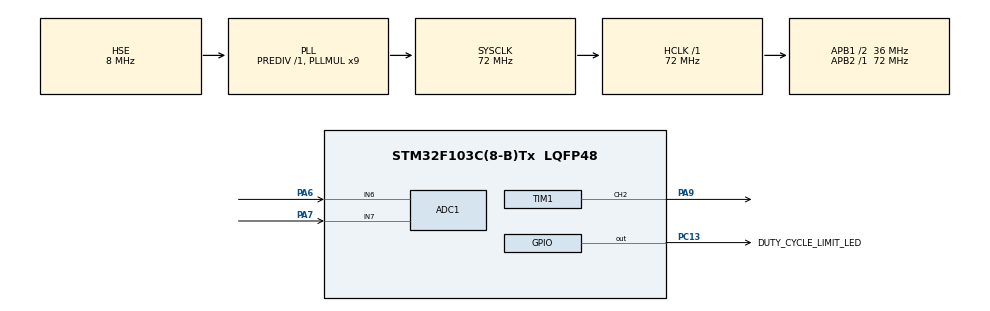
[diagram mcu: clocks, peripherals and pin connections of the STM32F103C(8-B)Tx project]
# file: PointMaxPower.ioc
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ADC1.Channel-1\#ChannelRegularConversion=ADC_CHANNEL_6
ADC1.Channel-10\#ChannelRegularConversion=ADC_CHANNEL_7
ADC1.Channel-2\#ChannelRegularConversion=ADC_CHANNEL_7
ADC1.Channel-7\#ChannelRegularConversion=ADC_CHANNEL_6
ADC1.Channel-8\#ChannelRegularConversion=ADC_CHANNEL_7
ADC1.Channel-9\#ChannelRegularConversion=ADC_CHANNEL_6
ADC1.ContinuousConvMode=DISABLE
ADC1.EnableInjectedConversion=DISABLE
ADC1.InjNumberOfConversion=3
ADC1.NbrOfConversion=6
ADC1.NbrOfConversionFlag=1
ADC1.Rank-1\#ChannelRegularConversion=1
ADC1.Rank-10\#ChannelRegularConversion=6
ADC1.Rank-2\#ChannelRegularConversion=2
ADC1.Rank-7\#ChannelRegularConversion=3
ADC1.Rank-8\#ChannelRegularConversion=4
ADC1.Rank-9\#ChannelRegularConversion=5
ADC1.SamplingTime-1\#ChannelRegularConversion=ADC_SAMPLETIME_1CYCLE_5
ADC1.SamplingTime-10\#ChannelRegularConversion=ADC_SAMPLETIME_1CYCLE_5
ADC1.SamplingTime-2\#ChannelRegularConversion=ADC_SAMPLETIME_1CYCLE_5
ADC1.SamplingTime-7\#ChannelRegularConversion=ADC_SAMPLETIME_1CYCLE_5
ADC1.SamplingTime-8\#ChannelRegularConversion=ADC_SAMPLETIME_1CYCLE_5
ADC1.SamplingTime-9\#ChannelRegularConversion=ADC_SAMPLETIME_1CYCLE_5
ADC1.master=1
Dma.ADC1.0.Direction=DMA_PERIPH_TO_MEMORY
Dma.ADC1.0.Instance=DMA1_Channel1
Dma.ADC1.0.MemDataAlignment=DMA_MDATAALIGN_HALFWORD
Dma.ADC1.0.MemInc=DMA_MINC_ENABLE
Dma.ADC1.0.Mode=DMA_NORMAL
Dma.ADC1.0.PeriphDataAlignment=DMA_PDATAALIGN_HALFWORD
Dma.ADC1.0.PeriphInc=DMA_PINC_DISABLE
Dma.ADC1.0.Priority=DMA_PRIORITY_LOW
Dma.Request0=ADC1
Mcu.Family=STM32F1
Mcu.Name=STM32F103C(8-B)Tx
Mcu.Package=LQFP48
NVIC.ADC1_2_IRQn=true\:0\:0\:false\:false\:true\:true\:true
NVIC.DMA1_Channel1_IRQn=true\:0\:0\:false\:false\:true\:false\:true
NVIC.PriorityGroup=NVIC_PRIORITYGROUP_4
PA13.Mode=Serial_Wire
PA13.Signal=SYS_JTMS-SWDIO
PA14.Mode=Serial_Wire
PA14.Signal=SYS_JTCK-SWCLK
PA6.Signal=ADCx_IN6
PA7.Signal=ADCx_IN7
PA9.Signal=S_TIM1_CH2
PC13-TAMPER-RTC.GPIO_Label=DUTY_CYCLE_LIMIT_LED
PC13-TAMPER-RTC.GPIO_Speed=GPIO_SPEED_FREQ_HIGH
PC13-TAMPER-RTC.PinState=GPIO_PIN_SET
PC13-TAMPER-RTC.Signal=GPIO_Output
PC14-OSC32_IN.Mode=LSE-External-Oscillator
PC14-OSC32_IN.Signal=RCC_OSC32_IN
PC15-OSC32_OUT.Mode=LSE-External-Oscillator
PC15-OSC32_OUT.Signal=RCC_OSC32_OUT
PD0-OSC_IN.Mode=HSE-External-Oscillator
PD0-OSC_IN.Signal=RCC_OSC_IN
PD1-OSC_OUT.Mode=HSE-External-Oscillator
PD1-OSC_OUT.Signal=RCC_OSC_OUT
ProjectManager.HeapSize=0x200
ProjectManager.StackSize=0x400
ProjectManager.TargetToolchain=EWARM V8.32
RCC.ADCPresc=RCC_ADCPCLK2_DIV6
RCC.AHBFreq_Value=72000000
RCC.APB1CLKDivider=RCC_HCLK_DIV2
RCC.APB1Freq_Value=36000000
RCC.APB1TimFreq_Value=72000000
RCC.APB2Freq_Value=72000000
RCC.APB2TimFreq_Value=72000000
RCC.HCLKFreq_Value=72000000
RCC.LSE_Timout=500
RCC.PLLMUL=RCC_PLL_MUL9
RCC.PLLSourceVirtual=RCC_PLLSOURCE_HSE
RCC.SYSCLKFreq_VALUE=72000000
RCC.SYSCLKSource=RCC_SYSCLKSOURCE_PLLCLK
RCC.USBFreq_Value=72000000
SH.ADCx_IN6.0=ADC1_IN6,IN6
SH.ADCx_IN7.0=ADC1_IN7,IN7
SH.S_TIM1_CH2.0=TIM1_CH2,PWM Generation2 CH2
TIM1.Channel-PWM\ Generation2\ CH2=TIM_CHANNEL_2
TIM1.Period=1024
TIM1.Pulse-PWM\ Generation2\ CH2=512
VP_TIM1_VS_ClockSourceINT.Mode=Internal
board=custom

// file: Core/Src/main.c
/* USER CODE BEGIN Header */
/**
  ******************************************************************************
  * @file           : main.c
  * @brief          : Main program body
  ******************************************************************************
  * @attention
  *
  * <h2><center>&copy; Copyright (c) 2021 STMicroelectronics.
  * All rights reserved.</center></h2>
  *
  * This software component is licensed by ST under BSD 3-Clause license,
  * the "License"; You may not use this file except in compliance with the
  * License. You may obtain a copy of the License at:
  *                        opensource.org/licenses/BSD-3-Clause
  *
  ******************************************************************************
  */
/* USER CODE END Header */
#include "main.h"

/* USER CODE BEGIN Includes */
#include <stdbool.h>
#include <stdio.h>
/* USER CODE END Includes */

/* USER CODE BEGIN PTD */
typedef struct
{
  uint16_t      voltage;
  uint16_t      current;
} adc_sample_t;
/* USER CODE END PTD */

/* USER CODE BEGIN PD */
#define SAMPLE_BUF_ELEM  3 //this value must be the half of 'hadc1.Init.NbrOfConversion'
#define INCREASE_PWM            ((int8_t)1)
#define DECREASE_PWM            ((int8_t)(-1))
#define LED_LIGHT               GPIO_PIN_RESET
#define LED_DARK                GPIO_PIN_SET
/* USER CODE END PD */

ADC_HandleTypeDef hadc1;
DMA_HandleTypeDef hdma_adc1;

TIM_HandleTypeDef htim1;

/* USER CODE BEGIN PV */
__IO adc_sample_t samples_buf[SAMPLE_BUF_ELEM];
bool debug_print_new_duty_cycle = true;
uint16_t duty_cycle = PWM_DUTY_CYCLE_DEFAULT;
/* USER CODE END PV */

void SystemClock_Config(void);
static void MX_GPIO_Init(void);
static void MX_DMA_Init(void);
static void MX_ADC1_Init(void);
static void MX_TIM1_Init(void);
/* USER CODE BEGIN PFP */
void sample_handling(ADC_HandleTypeDef *hadc);
/* USER CODE END PFP */

int main(void)
{

  /* MCU Configuration--------------------------------------------------------*/

  /* Reset of all peripherals, Initializes the Flash interface and the Systick. */
  HAL_Init();

  /* Configure the system clock */
  SystemClock_Config();

  /* Initialize all configured peripherals */
  MX_GPIO_Init();
  MX_DMA_Init();
  MX_ADC1_Init();
  MX_TIM1_Init();
  /* USER CODE BEGIN 2 */
  if (HAL_ADC_RegisterCallback(&hadc1, HAL_ADC_CONVERSION_COMPLETE_CB_ID, sample_handling) != HAL_OK)
    Error_Handler();

  __HAL_TIM_SET_COMPARE(&htim1, TIM_CHANNEL_2, PWM_DUTY_CYCLE_DEFAULT);

  if (HAL_TIM_PWM_Start_IT(&htim1,  TIM_CHANNEL_2) != HAL_OK)
    Error_Handler();

  /* USER CODE END 2 */

  /* Infinite loop */
  /* USER CODE BEGIN WHILE */

  while (1)
  {
    if (debug_print_new_duty_cycle)
    {
      printf ("\nduty cycle = %d", duty_cycle);
      debug_print_new_duty_cycle = false;
    }
    /* USER CODE END WHILE */

  }
}

void SystemClock_Config(void)
{
  RCC_OscInitTypeDef RCC_OscInitStruct = {0};
  RCC_ClkInitTypeDef RCC_ClkInitStruct = {0};
  RCC_PeriphCLKInitTypeDef PeriphClkInit = {0};

  /** Initializes the RCC Oscillators according to the specified parameters
  * in the RCC_OscInitTypeDef structure.
  */
  RCC_OscInitStruct.OscillatorType = RCC_OSCILLATORTYPE_HSE;
  RCC_OscInitStruct.HSEState = RCC_HSE_ON;
  RCC_OscInitStruct.HSEPredivValue = RCC_HSE_PREDIV_DIV1;
  RCC_OscInitStruct.HSIState = RCC_HSI_ON;
  RCC_OscInitStruct.PLL.PLLState = RCC_PLL_ON;
  RCC_OscInitStruct.PLL.PLLSource = RCC_PLLSOURCE_HSE;
  RCC_OscInitStruct.PLL.PLLMUL = RCC_PLL_MUL9;
  if (HAL_RCC_OscConfig(&RCC_OscInitStruct) != HAL_OK)
  {
    Error_Handler();
  }
  /** Initializes the CPU, AHB and APB buses clocks
  */
  RCC_ClkInitStruct.ClockType = RCC_CLOCKTYPE_HCLK|RCC_CLOCKTYPE_SYSCLK
                              |RCC_CLOCKTYPE_PCLK1|RCC_CLOCKTYPE_PCLK2;
  RCC_ClkInitStruct.SYSCLKSource = RCC_SYSCLKSOURCE_PLLCLK;
  RCC_ClkInitStruct.AHBCLKDivider = RCC_SYSCLK_DIV1;
  RCC_ClkInitStruct.APB1CLKDivider = RCC_HCLK_DIV2;
  RCC_ClkInitStruct.APB2CLKDivider = RCC_HCLK_DIV1;

  if (HAL_RCC_ClockConfig(&RCC_ClkInitStruct, FLASH_LATENCY_2) != HAL_OK)
  {
    Error_Handler();
  }
  PeriphClkInit.PeriphClockSelection = RCC_PERIPHCLK_ADC;
  PeriphClkInit.AdcClockSelection = RCC_ADCPCLK2_DIV6;
  if (HAL_RCCEx_PeriphCLKConfig(&PeriphClkInit) != HAL_OK)
  {
    Error_Handler();
  }
}

static void MX_ADC1_Init(void)
{

  ADC_ChannelConfTypeDef sConfig = {0};

  /** Common config
  */
  hadc1.Instance = ADC1;
  hadc1.Init.ScanConvMode = ADC_SCAN_ENABLE;
  hadc1.Init.ContinuousConvMode = DISABLE;
  hadc1.Init.DiscontinuousConvMode = DISABLE;
  hadc1.Init.ExternalTrigConv = ADC_SOFTWARE_START;
  hadc1.Init.DataAlign = ADC_DATAALIGN_RIGHT;
  hadc1.Init.NbrOfConversion = 6;
  if (HAL_ADC_Init(&hadc1) != HAL_OK)
  {
    Error_Handler();
  }
  /** Configure Regular Channel
  */
  sConfig.Channel = ADC_CHANNEL_6;
  sConfig.Rank = ADC_REGULAR_RANK_1;
  sConfig.SamplingTime = ADC_SAMPLETIME_1CYCLE_5;
  if (HAL_ADC_ConfigChannel(&hadc1, &sConfig) != HAL_OK)
  {
    Error_Handler();
  }
  /** Configure Regular Channel
  */
  sConfig.Channel = ADC_CHANNEL_7;
  sConfig.Rank = ADC_REGULAR_RANK_2;
  if (HAL_ADC_ConfigChannel(&hadc1, &sConfig) != HAL_OK)
  {
    Error_Handler();
  }
  /** Configure Regular Channel
  */
  sConfig.Channel = ADC_CHANNEL_6;
  sConfig.Rank = ADC_REGULAR_RANK_3;
  if (HAL_ADC_ConfigChannel(&hadc1, &sConfig) != HAL_OK)
  {
    Error_Handler();
  }
  /** Configure Regular Channel
  */
  sConfig.Channel = ADC_CHANNEL_7;
  sConfig.Rank = ADC_REGULAR_RANK_4;
  if (HAL_ADC_ConfigChannel(&hadc1, &sConfig) != HAL_OK)
  {
    Error_Handler();
  }
  /** Configure Regular Channel
  */
  sConfig.Channel = ADC_CHANNEL_6;
  sConfig.Rank = ADC_REGULAR_RANK_5;
  if (HAL_ADC_ConfigChannel(&hadc1, &sConfig) != HAL_OK)
  {
    Error_Handler();
  }
  /** Configure Regular Channel
  */
  sConfig.Channel = ADC_CHANNEL_7;
  sConfig.Rank = ADC_REGULAR_RANK_6;
  if (HAL_ADC_ConfigChannel(&hadc1, &sConfig) != HAL_OK)
  {
    Error_Handler();
  }

}

static void MX_TIM1_Init(void)
{

  TIM_ClockConfigTypeDef sClockSourceConfig = {0};
  TIM_MasterConfigTypeDef sMasterConfig = {0};
  TIM_OC_InitTypeDef sConfigOC = {0};
  TIM_BreakDeadTimeConfigTypeDef sBreakDeadTimeConfig = {0};

  htim1.Instance = TIM1;
  htim1.Init.Prescaler = 0;
  htim1.Init.CounterMode = TIM_COUNTERMODE_UP;
  htim1.Init.Period = 1024;
  htim1.Init.ClockDivision = TIM_CLOCKDIVISION_DIV1;
  htim1.Init.RepetitionCounter = 0;
  htim1.Init.AutoReloadPreload = TIM_AUTORELOAD_PRELOAD_DISABLE;
  if (HAL_TIM_Base_Init(&htim1) != HAL_OK)
  {
    Error_Handler();
  }
  sClockSourceConfig.ClockSource = TIM_CLOCKSOURCE_INTERNAL;
  if (HAL_TIM_ConfigClockSource(&htim1, &sClockSourceConfig) != HAL_OK)
  {
    Error_Handler();
  }
  if (HAL_TIM_PWM_Init(&htim1) != HAL_OK)
  {
    Error_Handler();
  }
  sMasterConfig.MasterOutputTrigger = TIM_TRGO_RESET;
  sMasterConfig.MasterSlaveMode = TIM_MASTERSLAVEMODE_DISABLE;
  if (HAL_TIMEx_MasterConfigSynchronization(&htim1, &sMasterConfig) != HAL_OK)
  {
    Error_Handler();
  }
  sConfigOC.OCMode = TIM_OCMODE_PWM1;
  sConfigOC.Pulse = 512;
  sConfigOC.OCPolarity = TIM_OCPOLARITY_HIGH;
  sConfigOC.OCNPolarity = TIM_OCNPOLARITY_HIGH;
  sConfigOC.OCFastMode = TIM_OCFAST_DISABLE;
  sConfigOC.OCIdleState = TIM_OCIDLESTATE_RESET;
  sConfigOC.OCNIdleState = TIM_OCNIDLESTATE_RESET;
  if (HAL_TIM_PWM_ConfigChannel(&htim1, &sConfigOC, TIM_CHANNEL_2) != HAL_OK)
  {
    Error_Handler();
  }
  sBreakDeadTimeConfig.OffStateRunMode = TIM_OSSR_DISABLE;
  sBreakDeadTimeConfig.OffStateIDLEMode = TIM_OSSI_DISABLE;
  sBreakDeadTimeConfig.LockLevel = TIM_LOCKLEVEL_OFF;
  sBreakDeadTimeConfig.DeadTime = 0;
  sBreakDeadTimeConfig.BreakState = TIM_BREAK_DISABLE;
  sBreakDeadTimeConfig.BreakPolarity = TIM_BREAKPOLARITY_HIGH;
  sBreakDeadTimeConfig.AutomaticOutput = TIM_AUTOMATICOUTPUT_DISABLE;
  if (HAL_TIMEx_ConfigBreakDeadTime(&htim1, &sBreakDeadTimeConfig) != HAL_OK)
  {
    Error_Handler();
  }
  HAL_TIM_MspPostInit(&htim1);

}

static void MX_DMA_Init(void)
{

  /* DMA controller clock enable */
  __HAL_RCC_DMA1_CLK_ENABLE();

  /* DMA interrupt init */
  /* DMA1_Channel1_IRQn interrupt configuration */
  HAL_NVIC_SetPriority(DMA1_Channel1_IRQn, 0, 0);
  HAL_NVIC_EnableIRQ(DMA1_Channel1_IRQn);

}

static void MX_GPIO_Init(void)
{
  GPIO_InitTypeDef GPIO_InitStruct = {0};

  /* GPIO Ports Clock Enable */
  __HAL_RCC_GPIOC_CLK_ENABLE();
  __HAL_RCC_GPIOD_CLK_ENABLE();
  __HAL_RCC_GPIOA_CLK_ENABLE();

  /*Configure GPIO pin Output Level */
  HAL_GPIO_WritePin(DUTY_CYCLE_LIMIT_LED_GPIO_Port, DUTY_CYCLE_LIMIT_LED_Pin, GPIO_PIN_SET);

  /*Configure GPIO pin : DUTY_CYCLE_LIMIT_LED_Pin */
  GPIO_InitStruct.Pin = DUTY_CYCLE_LIMIT_LED_Pin;
  GPIO_InitStruct.Mode = GPIO_MODE_OUTPUT_PP;
  GPIO_InitStruct.Pull = GPIO_NOPULL;
  GPIO_InitStruct.Speed = GPIO_SPEED_FREQ_HIGH;
  HAL_GPIO_Init(DUTY_CYCLE_LIMIT_LED_GPIO_Port, &GPIO_InitStruct);

}

/* USER CODE BEGIN 4 */
//------------------------------------------------------------------------------
void launch_single_adc_sample()
{
  if (HAL_ADC_Start_DMA(&hadc1, (uint32_t *)samples_buf, sizeof(samples_buf)/sizeof(uint16_t)) != HAL_OK)
    Error_Handler();

}
/*------------------------------------------------------------------------------
Function take an ADC simple array in global 'samples_buf', calculame average value
of momentum I and U, calculate momentum Power and correct PWM duty cycle.
If duty cycle take a limit a LED will light
Related defines in main.h
#define PWM_DUTY_CYCLE_DEFAULT
#define DUTY_STEP
#define DUTY_CYCLR_MAX
#define DUTY_CYCLR_MIN
------------------------------------------------------------------------------ */
void sample_handling(ADC_HandleTypeDef *hadc)
{
  static uint16_t prev_U;
  static uint32_t prev_P;
  static bool is_first_cycle = true;
  uint16_t average_I=0;
  uint16_t average_U=0;
  uint32_t average_P;

  //calculate average value of U and I
  for (uint8_t i=0; i<SAMPLE_BUF_ELEM; i++)
  {
    average_I += samples_buf[i].current;
    average_U += samples_buf[i].voltage;
  }
  average_I /= SAMPLE_BUF_ELEM;
  average_U /= SAMPLE_BUF_ELEM;

  average_P = average_I * average_U;
  if (!is_first_cycle)
  {
    int8_t result = (average_U > prev_U)? INCREASE_PWM : DECREASE_PWM;
    result = (average_P > prev_P)? result : -result;
    if( ((result>0) && (duty_cycle < DUTY_CYCLR_MAX - DUTY_STEP)) ||
        ((result<0) && (duty_cycle > DUTY_CYCLR_MIN + DUTY_STEP)) )
    {
      duty_cycle += result * DUTY_STEP;
      __HAL_TIM_SET_COMPARE(&htim1, TIM_CHANNEL_2, duty_cycle);
      debug_print_new_duty_cycle = true;
      HAL_GPIO_WritePin(DUTY_CYCLE_LIMIT_LED_GPIO_Port, DUTY_CYCLE_LIMIT_LED_Pin, LED_DARK);
    }
    else
      HAL_GPIO_WritePin(DUTY_CYCLE_LIMIT_LED_GPIO_Port, DUTY_CYCLE_LIMIT_LED_Pin, LED_LIGHT);
  }
  prev_U = average_U;
  prev_P = average_P;
  is_first_cycle = false;

}

//------------------------------------------------------------------------------
/* USER CODE END 4 */

void Error_Handler(void)
{
  __disable_irq();
  while (1)
  {
  }
}

/************************ (C) COPYRIGHT STMicroelectronics *****END OF FILE****/
